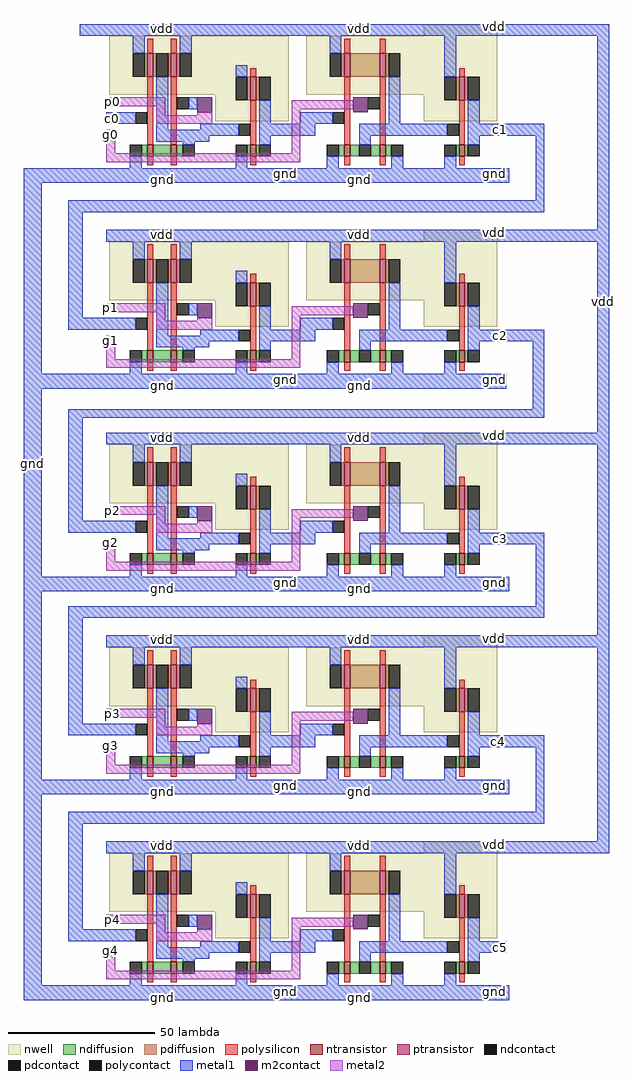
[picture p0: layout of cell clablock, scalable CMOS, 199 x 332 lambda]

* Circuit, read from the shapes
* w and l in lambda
.subckt clablock c0 c1 c2 c3 c4 c5 g0 g1 g2 g3 g4 gnd p0 p1 p2 p3 p4 vdd
M1 n1 c4 gnd VSUBS nfet w=4 l=2
M2 n2 c3 gnd VSUBS nfet w=4 l=2
M3 n3 c2 gnd VSUBS nfet w=4 l=2
M4 n4 c1 gnd VSUBS nfet w=4 l=2
M5 n5 c0 gnd VSUBS nfet w=4 l=2
M6 n6 p4 n1 VSUBS nfet w=4 l=2
M7 n7 p3 n2 VSUBS nfet w=4 l=2
M8 n8 p2 n3 VSUBS nfet w=4 l=2
M9 n9 p1 n4 VSUBS nfet w=4 l=2
M10 n10 p0 n5 VSUBS nfet w=4 l=2
M11 n11 n6 gnd VSUBS nfet w=4 l=2
M12 n12 n7 gnd VSUBS nfet w=4 l=2
M13 n13 n8 gnd VSUBS nfet w=4 l=2
M14 n14 n9 gnd VSUBS nfet w=4 l=2
M15 n15 n10 gnd VSUBS nfet w=4 l=2
M16 n16 n11 gnd VSUBS nfet w=4 l=2
M17 n17 n12 gnd VSUBS nfet w=4 l=2
M18 n18 n13 gnd VSUBS nfet w=4 l=2
M19 n19 n14 gnd VSUBS nfet w=4 l=2
M20 n20 n15 gnd VSUBS nfet w=4 l=2
M21 gnd g4 n16 VSUBS nfet w=4 l=2
M22 gnd g3 n17 VSUBS nfet w=4 l=2
M23 gnd g2 n18 VSUBS nfet w=4 l=2
M24 gnd g1 n19 VSUBS nfet w=4 l=2
M25 gnd g0 n20 VSUBS nfet w=4 l=2
M26 c5 n16 gnd VSUBS nfet w=4 l=2
M27 c4 n17 gnd VSUBS nfet w=4 l=2
M28 c3 n18 gnd VSUBS nfet w=4 l=2
M29 c2 n19 gnd VSUBS nfet w=4 l=2
M30 c1 n20 gnd VSUBS nfet w=4 l=2
M31 n6 c4 vdd n21 pfet w=8 l=2
M32 n7 c3 vdd n22 pfet w=8 l=2
M33 n8 c2 vdd n23 pfet w=8 l=2
M34 n9 c1 vdd n24 pfet w=8 l=2
M35 n10 c0 vdd n25 pfet w=8 l=2
M36 vdd p4 n6 n21 pfet w=8 l=2
M37 vdd p3 n7 n22 pfet w=8 l=2
M38 vdd p2 n8 n23 pfet w=8 l=2
M39 vdd p1 n9 n24 pfet w=8 l=2
M40 vdd p0 n10 n25 pfet w=8 l=2
M41 n11 n6 n26 n21 pfet w=8 l=2
M42 n12 n7 n27 n22 pfet w=8 l=2
M43 n13 n8 n28 n23 pfet w=8 l=2
M44 n14 n9 n29 n24 pfet w=8 l=2
M45 n15 n10 n30 n25 pfet w=8 l=2
M46 n31 n11 vdd n32 pfet w=8 l=2
M47 n33 n12 vdd n34 pfet w=8 l=2
M48 n35 n13 vdd n36 pfet w=8 l=2
M49 n37 n14 vdd n38 pfet w=8 l=2
M50 n39 n15 vdd n40 pfet w=8 l=2
M51 n16 g4 n31 n32 pfet w=8 l=2
M52 n17 g3 n33 n34 pfet w=8 l=2
M53 n18 g2 n35 n36 pfet w=8 l=2
M54 n19 g1 n37 n38 pfet w=8 l=2
M55 n20 g0 n39 n40 pfet w=8 l=2
M56 c5 n16 vdd n32 pfet w=8 l=2
M57 c4 n17 vdd n34 pfet w=8 l=2
M58 c3 n18 vdd n36 pfet w=8 l=2
M59 c2 n19 vdd n38 pfet w=8 l=2
M60 c1 n20 vdd n40 pfet w=8 l=2
.ends

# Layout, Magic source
magic
tech scmos
<< nwell >>
rect 107 50 132 54
rect 0 30 61 50
rect 67 30 132 50
rect 36 21 61 30
rect 107 21 132 30
rect 107 -20 132 -16
rect 0 -40 61 -20
rect 67 -40 132 -20
rect 36 -49 61 -40
rect 107 -49 132 -40
rect 107 -89 132 -85
rect 0 -109 61 -89
rect 67 -109 132 -89
rect 36 -118 61 -109
rect 107 -118 132 -109
rect 107 -158 132 -154
rect 0 -178 61 -158
rect 67 -178 132 -158
rect 36 -187 61 -178
rect 107 -187 132 -178
rect 107 -228 132 -224
rect 0 -248 61 -228
rect 67 -248 132 -228
rect 36 -257 61 -248
rect 107 -257 132 -248
<< ntransistor >>
rect 13 9 15 13
rect 21 9 23 13
rect 48 9 50 13
rect 80 9 82 13
rect 92 9 94 13
rect 119 9 121 13
rect 13 -61 15 -57
rect 21 -61 23 -57
rect 48 -61 50 -57
rect 80 -61 82 -57
rect 92 -61 94 -57
rect 119 -61 121 -57
rect 13 -130 15 -126
rect 21 -130 23 -126
rect 48 -130 50 -126
rect 80 -130 82 -126
rect 92 -130 94 -126
rect 119 -130 121 -126
rect 13 -199 15 -195
rect 21 -199 23 -195
rect 48 -199 50 -195
rect 80 -199 82 -195
rect 92 -199 94 -195
rect 119 -199 121 -195
rect 13 -269 15 -265
rect 21 -269 23 -265
rect 48 -269 50 -265
rect 80 -269 82 -265
rect 92 -269 94 -265
rect 119 -269 121 -265
<< ptransistor >>
rect 13 36 15 44
rect 21 36 23 44
rect 80 36 82 44
rect 92 36 94 44
rect 48 28 50 36
rect 119 28 121 36
rect 13 -34 15 -26
rect 21 -34 23 -26
rect 80 -34 82 -26
rect 92 -34 94 -26
rect 48 -42 50 -34
rect 119 -42 121 -34
rect 13 -103 15 -95
rect 21 -103 23 -95
rect 80 -103 82 -95
rect 92 -103 94 -95
rect 48 -111 50 -103
rect 119 -111 121 -103
rect 13 -172 15 -164
rect 21 -172 23 -164
rect 80 -172 82 -164
rect 92 -172 94 -164
rect 48 -180 50 -172
rect 119 -180 121 -172
rect 13 -242 15 -234
rect 21 -242 23 -234
rect 80 -242 82 -234
rect 92 -242 94 -234
rect 48 -250 50 -242
rect 119 -250 121 -242
<< ndiffusion >>
rect 11 9 13 13
rect 15 9 21 13
rect 23 9 25 13
rect 47 9 48 13
rect 50 9 51 13
rect 78 9 80 13
rect 82 9 85 13
rect 89 9 92 13
rect 94 9 96 13
rect 118 9 119 13
rect 121 9 122 13
rect 11 -61 13 -57
rect 15 -61 21 -57
rect 23 -61 25 -57
rect 47 -61 48 -57
rect 50 -61 51 -57
rect 78 -61 80 -57
rect 82 -61 85 -57
rect 89 -61 92 -57
rect 94 -61 96 -57
rect 118 -61 119 -57
rect 121 -61 122 -57
rect 11 -130 13 -126
rect 15 -130 21 -126
rect 23 -130 25 -126
rect 47 -130 48 -126
rect 50 -130 51 -126
rect 78 -130 80 -126
rect 82 -130 85 -126
rect 89 -130 92 -126
rect 94 -130 96 -126
rect 118 -130 119 -126
rect 121 -130 122 -126
rect 11 -199 13 -195
rect 15 -199 21 -195
rect 23 -199 25 -195
rect 47 -199 48 -195
rect 50 -199 51 -195
rect 78 -199 80 -195
rect 82 -199 85 -195
rect 89 -199 92 -195
rect 94 -199 96 -195
rect 118 -199 119 -195
rect 121 -199 122 -195
rect 11 -269 13 -265
rect 15 -269 21 -265
rect 23 -269 25 -265
rect 47 -269 48 -265
rect 50 -269 51 -265
rect 78 -269 80 -265
rect 82 -269 85 -265
rect 89 -269 92 -265
rect 94 -269 96 -265
rect 118 -269 119 -265
rect 121 -269 122 -265
<< pdiffusion >>
rect 12 36 13 44
rect 15 36 16 44
rect 20 36 21 44
rect 23 36 24 44
rect 79 36 80 44
rect 82 36 92 44
rect 94 36 95 44
rect 47 28 48 36
rect 50 28 51 36
rect 118 28 119 36
rect 121 28 122 36
rect 12 -34 13 -26
rect 15 -34 16 -26
rect 20 -34 21 -26
rect 23 -34 24 -26
rect 79 -34 80 -26
rect 82 -34 92 -26
rect 94 -34 95 -26
rect 47 -42 48 -34
rect 50 -42 51 -34
rect 118 -42 119 -34
rect 121 -42 122 -34
rect 12 -103 13 -95
rect 15 -103 16 -95
rect 20 -103 21 -95
rect 23 -103 24 -95
rect 79 -103 80 -95
rect 82 -103 92 -95
rect 94 -103 95 -95
rect 47 -111 48 -103
rect 50 -111 51 -103
rect 118 -111 119 -103
rect 121 -111 122 -103
rect 12 -172 13 -164
rect 15 -172 16 -164
rect 20 -172 21 -164
rect 23 -172 24 -164
rect 79 -172 80 -164
rect 82 -172 92 -164
rect 94 -172 95 -164
rect 47 -180 48 -172
rect 50 -180 51 -172
rect 118 -180 119 -172
rect 121 -180 122 -172
rect 12 -242 13 -234
rect 15 -242 16 -234
rect 20 -242 21 -234
rect 23 -242 24 -234
rect 79 -242 80 -234
rect 82 -242 92 -234
rect 94 -242 95 -234
rect 47 -250 48 -242
rect 50 -250 51 -242
rect 118 -250 119 -242
rect 121 -250 122 -242
<< ndcontact >>
rect 7 9 11 13
rect 25 9 29 13
rect 43 9 47 13
rect 51 9 55 13
rect 74 9 78 13
rect 85 9 89 13
rect 96 9 100 13
rect 114 9 118 13
rect 122 9 126 13
rect 7 -61 11 -57
rect 25 -61 29 -57
rect 43 -61 47 -57
rect 51 -61 55 -57
rect 74 -61 78 -57
rect 85 -61 89 -57
rect 96 -61 100 -57
rect 114 -61 118 -57
rect 122 -61 126 -57
rect 7 -130 11 -126
rect 25 -130 29 -126
rect 43 -130 47 -126
rect 51 -130 55 -126
rect 74 -130 78 -126
rect 85 -130 89 -126
rect 96 -130 100 -126
rect 114 -130 118 -126
rect 122 -130 126 -126
rect 7 -199 11 -195
rect 25 -199 29 -195
rect 43 -199 47 -195
rect 51 -199 55 -195
rect 74 -199 78 -195
rect 85 -199 89 -195
rect 96 -199 100 -195
rect 114 -199 118 -195
rect 122 -199 126 -195
rect 7 -269 11 -265
rect 25 -269 29 -265
rect 43 -269 47 -265
rect 51 -269 55 -265
rect 74 -269 78 -265
rect 85 -269 89 -265
rect 96 -269 100 -265
rect 114 -269 118 -265
rect 122 -269 126 -265
<< pdcontact >>
rect 8 36 12 44
rect 16 36 20 44
rect 24 36 28 44
rect 75 36 79 44
rect 95 36 99 44
rect 43 28 47 36
rect 51 28 55 36
rect 114 28 118 36
rect 122 28 126 36
rect 8 -34 12 -26
rect 16 -34 20 -26
rect 24 -34 28 -26
rect 75 -34 79 -26
rect 95 -34 99 -26
rect 43 -42 47 -34
rect 51 -42 55 -34
rect 114 -42 118 -34
rect 122 -42 126 -34
rect 8 -103 12 -95
rect 16 -103 20 -95
rect 24 -103 28 -95
rect 75 -103 79 -95
rect 95 -103 99 -95
rect 43 -111 47 -103
rect 51 -111 55 -103
rect 114 -111 118 -103
rect 122 -111 126 -103
rect 8 -172 12 -164
rect 16 -172 20 -164
rect 24 -172 28 -164
rect 75 -172 79 -164
rect 95 -172 99 -164
rect 43 -180 47 -172
rect 51 -180 55 -172
rect 114 -180 118 -172
rect 122 -180 126 -172
rect 8 -242 12 -234
rect 16 -242 20 -234
rect 24 -242 28 -234
rect 75 -242 79 -234
rect 95 -242 99 -234
rect 43 -250 47 -242
rect 51 -250 55 -242
rect 114 -250 118 -242
rect 122 -250 126 -242
<< polysilicon >>
rect 13 44 15 49
rect 21 44 23 49
rect 80 44 82 49
rect 92 44 94 49
rect 48 36 50 39
rect 119 36 121 39
rect 13 13 15 36
rect 21 13 23 36
rect 48 13 50 28
rect 80 13 82 36
rect 92 13 94 36
rect 119 13 121 28
rect 13 6 15 9
rect 21 6 23 9
rect 48 6 50 9
rect 80 6 82 9
rect 92 6 94 9
rect 119 6 121 9
rect 13 -26 15 -21
rect 21 -26 23 -21
rect 80 -26 82 -21
rect 92 -26 94 -21
rect 48 -34 50 -31
rect 119 -34 121 -31
rect 13 -57 15 -34
rect 21 -57 23 -34
rect 48 -57 50 -42
rect 80 -57 82 -34
rect 92 -57 94 -34
rect 119 -57 121 -42
rect 13 -64 15 -61
rect 21 -64 23 -61
rect 48 -64 50 -61
rect 80 -64 82 -61
rect 92 -64 94 -61
rect 119 -64 121 -61
rect 13 -95 15 -90
rect 21 -95 23 -90
rect 80 -95 82 -90
rect 92 -95 94 -90
rect 48 -103 50 -100
rect 119 -103 121 -100
rect 13 -126 15 -103
rect 21 -126 23 -103
rect 48 -126 50 -111
rect 80 -126 82 -103
rect 92 -126 94 -103
rect 119 -126 121 -111
rect 13 -133 15 -130
rect 21 -133 23 -130
rect 48 -133 50 -130
rect 80 -133 82 -130
rect 92 -133 94 -130
rect 119 -133 121 -130
rect 13 -164 15 -159
rect 21 -164 23 -159
rect 80 -164 82 -159
rect 92 -164 94 -159
rect 48 -172 50 -169
rect 119 -172 121 -169
rect 13 -195 15 -172
rect 21 -195 23 -172
rect 48 -195 50 -180
rect 80 -195 82 -172
rect 92 -195 94 -172
rect 119 -195 121 -180
rect 13 -202 15 -199
rect 21 -202 23 -199
rect 48 -202 50 -199
rect 80 -202 82 -199
rect 92 -202 94 -199
rect 119 -202 121 -199
rect 13 -234 15 -229
rect 21 -234 23 -229
rect 80 -234 82 -229
rect 92 -234 94 -229
rect 48 -242 50 -239
rect 119 -242 121 -239
rect 13 -265 15 -242
rect 21 -265 23 -242
rect 48 -265 50 -250
rect 80 -265 82 -242
rect 92 -265 94 -242
rect 119 -265 121 -250
rect 13 -272 15 -269
rect 21 -272 23 -269
rect 48 -272 50 -269
rect 80 -272 82 -269
rect 92 -272 94 -269
rect 119 -272 121 -269
<< polycontact >>
rect 9 20 13 24
rect 23 25 27 29
rect 44 16 48 20
rect 76 20 80 24
rect 88 25 92 29
rect 115 16 119 20
rect 9 -50 13 -46
rect 23 -45 27 -41
rect 44 -54 48 -50
rect 76 -50 80 -46
rect 88 -45 92 -41
rect 115 -54 119 -50
rect 9 -119 13 -115
rect 23 -114 27 -110
rect 44 -123 48 -119
rect 76 -119 80 -115
rect 88 -114 92 -110
rect 115 -123 119 -119
rect 9 -188 13 -184
rect 23 -183 27 -179
rect 44 -192 48 -188
rect 76 -188 80 -184
rect 88 -183 92 -179
rect 115 -192 119 -188
rect 9 -258 13 -254
rect 23 -253 27 -249
rect 44 -262 48 -258
rect 76 -258 80 -254
rect 88 -253 92 -249
rect 115 -262 119 -258
<< metal1 >>
rect -10 50 170 54
rect 8 44 12 50
rect 24 44 28 50
rect 75 44 79 50
rect 43 36 47 40
rect -1 20 9 24
rect 16 18 20 36
rect 27 25 30 29
rect 51 20 55 28
rect 65 20 76 24
rect 95 20 99 36
rect 114 36 118 50
rect 122 20 126 28
rect 31 18 44 20
rect 16 16 44 18
rect 51 16 70 20
rect 85 16 115 20
rect 122 16 148 20
rect 16 14 34 16
rect 25 13 29 14
rect 51 13 55 16
rect 85 13 89 16
rect 122 13 126 16
rect 7 5 11 9
rect 43 5 47 9
rect 74 5 78 9
rect 96 5 100 9
rect 114 5 118 9
rect -29 0 136 5
rect -29 -65 -23 0
rect 145 -6 148 16
rect -14 -10 148 -6
rect -14 -46 -9 -10
rect 166 -16 170 50
rect -1 -20 170 -16
rect 8 -26 12 -20
rect 24 -26 28 -20
rect 75 -26 79 -20
rect 43 -34 47 -30
rect -14 -50 9 -46
rect 16 -52 20 -34
rect 27 -45 30 -41
rect 51 -50 55 -42
rect 65 -50 76 -46
rect 95 -50 99 -34
rect 114 -34 118 -20
rect 122 -50 126 -42
rect 31 -52 44 -50
rect 16 -54 44 -52
rect 51 -54 70 -50
rect 85 -54 115 -50
rect 122 -54 148 -50
rect 16 -56 34 -54
rect 25 -57 29 -56
rect 51 -57 55 -54
rect 85 -57 89 -54
rect 122 -57 126 -54
rect 7 -65 11 -61
rect 43 -65 47 -61
rect 74 -65 78 -61
rect 96 -65 100 -61
rect 114 -65 118 -61
rect -29 -70 135 -65
rect -29 -134 -23 -70
rect 144 -77 148 -54
rect -14 -80 148 -77
rect -14 -115 -9 -80
rect 166 -85 170 -20
rect -1 -89 170 -85
rect 8 -95 12 -89
rect 24 -95 28 -89
rect 75 -95 79 -89
rect 43 -103 47 -99
rect -14 -119 9 -115
rect 16 -121 20 -103
rect 27 -114 30 -110
rect 51 -119 55 -111
rect 65 -119 76 -115
rect 95 -119 99 -103
rect 114 -103 118 -89
rect 122 -119 126 -111
rect 31 -121 44 -119
rect 16 -123 44 -121
rect 51 -123 70 -119
rect 85 -123 115 -119
rect 122 -123 148 -119
rect 16 -125 34 -123
rect 25 -126 29 -125
rect 51 -126 55 -123
rect 85 -126 89 -123
rect 122 -126 126 -123
rect 7 -134 11 -130
rect 43 -134 47 -130
rect 74 -134 78 -130
rect 96 -134 100 -130
rect 114 -134 118 -130
rect -29 -139 136 -134
rect -29 -203 -23 -139
rect 145 -144 148 -123
rect -14 -148 148 -144
rect -14 -184 -9 -148
rect 166 -154 170 -89
rect -1 -158 170 -154
rect 8 -164 12 -158
rect 24 -164 28 -158
rect 75 -164 79 -158
rect 43 -172 47 -168
rect -14 -188 9 -184
rect 16 -190 20 -172
rect 27 -183 30 -179
rect 51 -188 55 -180
rect 65 -188 76 -184
rect 95 -188 99 -172
rect 114 -172 118 -158
rect 122 -188 126 -180
rect 31 -190 44 -188
rect 16 -192 44 -190
rect 51 -192 70 -188
rect 85 -192 115 -188
rect 122 -192 148 -188
rect 16 -194 34 -192
rect 25 -195 29 -194
rect 51 -195 55 -192
rect 85 -195 89 -192
rect 122 -195 126 -192
rect 7 -203 11 -199
rect 43 -203 47 -199
rect 74 -203 78 -199
rect 96 -203 100 -199
rect 114 -203 118 -199
rect -29 -208 136 -203
rect -29 -273 -23 -208
rect 145 -214 148 -192
rect -14 -218 148 -214
rect -14 -254 -9 -218
rect 166 -224 170 -158
rect -1 -228 170 -224
rect 8 -234 12 -228
rect 24 -234 28 -228
rect 75 -234 79 -228
rect 43 -242 47 -238
rect -14 -258 9 -254
rect 16 -260 20 -242
rect 27 -253 30 -249
rect 51 -258 55 -250
rect 65 -258 76 -254
rect 95 -258 99 -242
rect 114 -242 118 -228
rect 122 -258 126 -250
rect 31 -260 44 -258
rect 16 -262 44 -260
rect 51 -262 70 -258
rect 85 -262 115 -258
rect 122 -262 135 -258
rect 16 -264 34 -262
rect 25 -265 29 -264
rect 51 -265 55 -262
rect 85 -265 89 -262
rect 122 -265 126 -262
rect 7 -273 11 -269
rect 43 -273 47 -269
rect 74 -273 78 -269
rect 96 -273 100 -269
rect 114 -273 118 -269
rect -29 -278 136 -273
<< m2contact >>
rect 30 24 35 29
rect 83 24 88 29
rect 30 -46 35 -41
rect 83 -46 88 -41
rect 30 -115 35 -110
rect 83 -115 88 -110
rect 30 -184 35 -179
rect 83 -184 88 -179
rect 30 -254 35 -249
rect 83 -254 88 -249
<< metal2 >>
rect -1 26 19 29
rect 16 23 19 26
rect 30 23 35 24
rect 16 20 35 23
rect 62 25 83 28
rect -1 10 2 18
rect 62 10 65 25
rect -1 7 65 10
rect -1 -44 19 -41
rect 16 -47 19 -44
rect 30 -47 35 -46
rect 16 -50 35 -47
rect 62 -45 83 -42
rect -1 -60 2 -52
rect 62 -60 65 -45
rect -1 -63 65 -60
rect -1 -113 19 -110
rect 16 -116 19 -113
rect 30 -116 35 -115
rect 16 -119 35 -116
rect 62 -114 83 -111
rect -1 -129 2 -121
rect 62 -129 65 -114
rect -1 -132 65 -129
rect -1 -182 19 -179
rect 16 -185 19 -182
rect 30 -185 35 -184
rect 16 -188 35 -185
rect 62 -183 83 -180
rect -1 -198 2 -190
rect 62 -198 65 -183
rect -1 -201 65 -198
rect -1 -252 19 -249
rect 16 -255 19 -252
rect 30 -255 35 -254
rect 16 -258 35 -255
rect 62 -253 83 -250
rect -1 -268 2 -260
rect 62 -268 65 -253
rect -1 -271 65 -268
<< labels >>
rlabel metal1 15 0 21 2 1 gnd
rlabel metal1 15 52 21 53 5 vdd
rlabel metal2 -1 26 3 29 3 p0
rlabel metal1 -1 20 3 24 3 c0
rlabel metal1 82 52 88 53 5 vdd
rlabel metal1 82 0 88 2 1 gnd
rlabel metal1 131 3 131 3 8 gnd
rlabel metal2 -1 15 2 18 3 g0
rlabel metal1 131 16 135 20 7 c1
rlabel metal1 60 3 60 3 8 gnd
rlabel metal1 131 53 131 53 6 vdd
rlabel metal1 166 -48 170 -33 7 vdd
rlabel metal1 131 -54 135 -50 1 c2
rlabel metal2 -1 -55 2 -52 1 g1
rlabel metal2 -1 -44 2 -41 1 p1
rlabel metal1 15 -70 21 -68 1 gnd
rlabel metal1 15 -18 21 -17 5 vdd
rlabel metal1 82 -18 88 -17 5 vdd
rlabel metal1 82 -70 88 -68 1 gnd
rlabel metal1 131 -67 131 -67 8 gnd
rlabel metal1 131 -17 131 -17 6 vdd
rlabel metal1 60 -67 60 -67 8 gnd
rlabel metal1 -28 -103 -24 -88 3 gnd
rlabel metal1 131 -123 135 -119 1 c3
rlabel metal2 -1 -124 2 -121 1 g2
rlabel metal2 -1 -113 3 -110 1 p2
rlabel metal1 60 -136 60 -136 8 gnd
rlabel metal1 131 -86 131 -86 6 vdd
rlabel metal1 131 -136 131 -136 8 gnd
rlabel metal1 82 -139 88 -137 1 gnd
rlabel metal1 82 -87 88 -86 5 vdd
rlabel metal1 15 -87 21 -86 5 vdd
rlabel metal1 15 -139 21 -137 1 gnd
rlabel metal1 131 -262 135 -258 1 c5
rlabel metal2 -1 -262 2 -260 1 g4
rlabel metal2 -1 -252 3 -249 1 p4
rlabel metal1 130 -192 135 -188 1 c4
rlabel metal2 -1 -193 2 -190 1 g3
rlabel metal2 -1 -182 3 -179 1 p3
rlabel metal1 15 -278 21 -276 1 gnd
rlabel metal1 15 -226 21 -225 5 vdd
rlabel metal1 82 -226 88 -225 5 vdd
rlabel metal1 82 -278 88 -276 1 gnd
rlabel metal1 131 -275 131 -275 8 gnd
rlabel metal1 131 -225 131 -225 6 vdd
rlabel metal1 60 -275 60 -275 8 gnd
rlabel metal1 15 -208 21 -206 1 gnd
rlabel metal1 15 -156 21 -155 5 vdd
rlabel metal1 82 -156 88 -155 5 vdd
rlabel metal1 82 -208 88 -206 1 gnd
rlabel metal1 131 -205 131 -205 8 gnd
rlabel metal1 131 -155 131 -155 6 vdd
rlabel metal1 60 -205 60 -205 8 gnd
<< end >>
